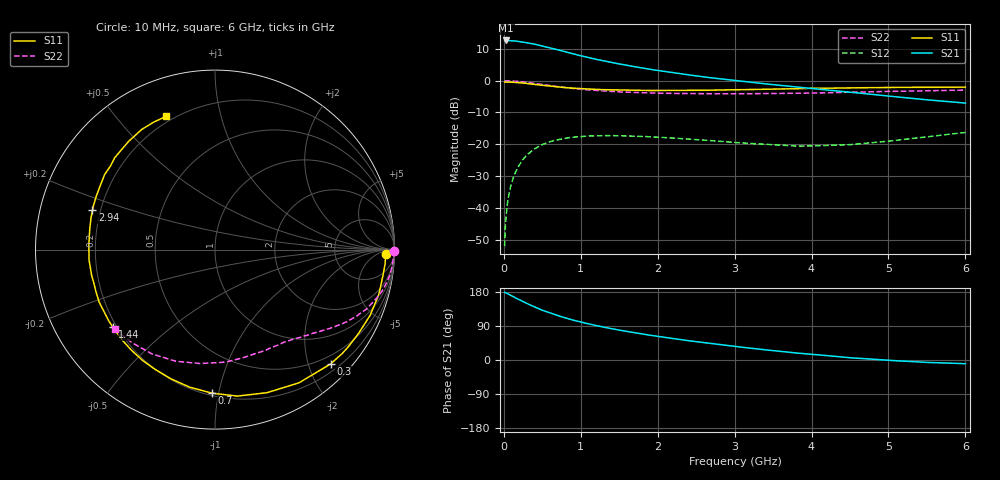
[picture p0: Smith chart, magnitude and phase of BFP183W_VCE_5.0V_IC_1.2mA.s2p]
! Infineon Technologies  Discrete & RF Semiconductors
! BFP183W
! VCE = 5.0 V,  IC =  1.2 mA
! Common Emitter S-Parameters:  Jan 2016
# GHz  S  MA  R  50
!  f  S11  S21  S12  S22
! GHz  MAG  ANG  MAG  ANG  MAG  ANG  MAG  ANG
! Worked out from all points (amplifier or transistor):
!   210 points, 10 MHz to 6 GHz, reference 50 ohm
!   highest |S21| = 12.6 dB at 30 MHz (marker M1)
!   |S21| within 3 dB of that: start of sweep to 712.8 MHz
!   unconditionally stable (mu >= 1): 2.649 GHz to end of sweep
!   at 185 MHz: K = 0.07, MSG = 19.8 dB, |S12| = -27.2 dB
!   at 1.52 GHz: K = 0.55, MSG = 11.3 dB, |S12| = -17.4 dB
!   at 6 GHz: K = 1.10, MAG = 2.7 dB, |S12| = -16.3 dB
!   S11 on the Smith chart (normalised r, x): 10 MHz: 30, -17; 300 MHz: 0.34, -2.39; 700 MHz: 0.22, -0.96; 1.44 GHz: 0.18, -0.33; 2.94 GHz: 0.17, +0.15; 6 GHz: 0.17, +0.68
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0.01  0.9506 -1.6  4.243 178.3  0.0025 95.2  0.9992 -0.6
0.02  0.951 -3.1  4.279 178.0  0.005 86.5  0.9929 -1.2
0.03  0.951 -4.8  4.286 177.1  0.0074 89.1  0.9969 -1.8
0.065  0.9459 -10.0  4.26 173.2  0.016 83.2  0.9932 -3.8
0.12  0.9415 -18.3  4.224 167.4  0.0289 78.8  0.9869 -7.0
0.2  0.9261 -30.4  4.128 158.8  0.047 71.9  0.9703 -11.6
0.3  0.9059 -44.7  3.948 148.9  0.0679 63.5  0.9403 -16.7
0.4  0.8774 -57.8  3.749 139.9  0.0848 55.7  0.907 -21.4
0.5  0.8482 -70.0  3.507 131.3  0.0989 49.2  0.8712 -25.2
0.7  0.8 -91.2  3.065 117.1  0.1178 37.9  0.8061 -31.5
0.9  0.761 -108.7  2.65 105.2  0.1293 29.1  0.7535 -36.6
1.02  0.7443 -117.4  2.429 99.3  0.1327 24.8  0.7297 -39.2
1.2  0.7288 -129.7  2.165 90.8  0.1363 19.0  0.702 -42.8
1.44  0.7145 -142.9  1.888 81.2  0.1365 13.5  0.6736 -47.0
1.6  0.7088 -151.1  1.746 75.3  0.1354 10.7  0.6591 -49.7
2.02  0.7018 -168.8  1.437 61.9  0.129 5.0  0.6364 -57.0
2.4  0.7034 177.9  1.233 50.9  0.1208 1.9  0.627 -64.1
2.94  0.7169 162.2  1.024 37.3  0.1082 2.0  0.6216 -74.2
3.1  0.722 158.0  0.976 33.6  0.105 3.0  0.6225 -77.5
4.1  0.759 135.7  0.733 13.3  0.0949 17.4  0.6416 -99.8
5.1  0.7843 120.3  0.557 -2.0  0.1155 32.9  0.6806 -123.4
6  0.7907 110.3  0.444 -9.8  0.1533 37.2  0.7113 -141.4
